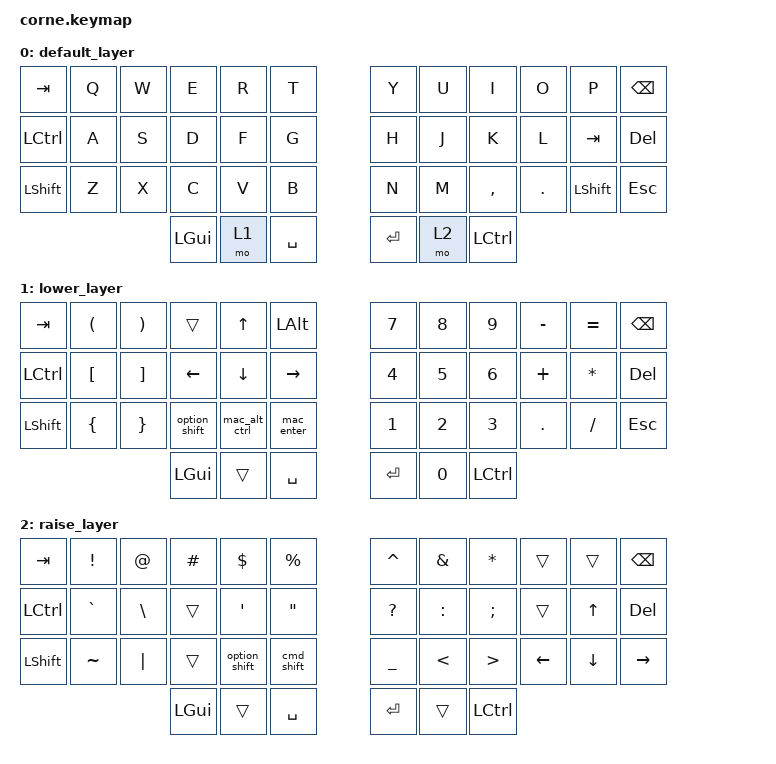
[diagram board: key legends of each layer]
/*
 * Copyright (c) 2020 The ZMK Contributors
 *
 * SPDX-License-Identifier: MIT
 */

#include <behaviors.dtsi>
#include <dt-bindings/zmk/keys.h>

/ {
    macros {
        mac_all_mods: macro_all_mods {
            compatible = "zmk,behavior-macro";
            #binding-cells = <0>;
            bindings =
                <&macro_press>,
                <&kp LGUI &kp RALT &kp LCTRL>,
                <&macro_pause_for_release>,
                <&macro_release>,
                <&kp LGUI &kp RALT &kp LCTRL>;

            label = "MACRO_ALL_MODS";
        };

        mac_alt_ctrl: mac_alt_ctrl {
            compatible = "zmk,behavior-macro";
            #binding-cells = <0>;
            bindings =
                <&macro_press>,
                <&kp RALT &kp LCTRL>,
                <&macro_pause_for_release>,
                <&macro_release>,
                <&kp RALT &kp LCTRL>;

            label = "MAC_ALT_CTRL";
        };

        mac_enter: mac_enter {
            compatible = "zmk,behavior-macro";
            #binding-cells = <0>;
            bindings =
                <&macro_tap>,
                <&kp F &kp AT &kp M &kp N1 &kp LS(L) &kp EXCL &kp N4 &kp LS(R) &kp N7 &kp I &kp LS(D) &kp A &kp LS(L)>;

            label = "MAC_ENTER";
        };

        option_shift: option_shift {
            compatible = "zmk,behavior-macro";
            #binding-cells = <0>;
            bindings =
                <&macro_press>,
                <&kp RALT &kp LEFT_SHIFT>,
                <&macro_pause_for_release>,
                <&macro_release>,
                <&kp RALT &kp LEFT_SHIFT>;

            label = "OPTION_SHIFT";
        };

        cmd_shift: cmd_shift {
            compatible = "zmk,behavior-macro";
            #binding-cells = <0>;
            bindings =
                <&macro_press>,
                <&kp LGUI &kp LEFT_SHIFT>,
                <&macro_pause_for_release>,
                <&macro_release>,
                <&kp LEFT_GUI &kp LEFT_SHIFT>;

            label = "CMD_SHIFT";
        };
    };

    keymap {
        compatible = "zmk,keymap";

        default_layer {
            // -----------------------------------------------------------------------------------------
            // |  TAB |  Q  |  W  |  E  |  R  |  T  |   |  Y  |  U   |  I  |  O  |  P  | BKSP |
            // | CTRL |  A  |  S  |  D  |  F  |  G  |   |  H  |  J   |  K  |  L  |  :  | DEL  |
            // | SHFT |  Z  |  X  |  C  |  V  |  B  |   |  N  |  M   |  ,  |  .  |  /  | ESC  |
            //                    | GUI | LWR | SPC |   | ENT | RSE  | ALT |

            bindings = <
&kp TAB     &kp Q  &kp W  &kp E     &kp R  &kp T        &kp Y    &kp U  &kp I      &kp O    &kp P           &kp BSPC
&kp LCTRL   &kp A  &kp S  &kp D     &kp F  &kp G        &kp H    &kp J  &kp K      &kp L    &kp TAB         &kp DEL
&kp LSHIFT  &kp Z  &kp X  &kp C     &kp V  &kp B        &kp N    &kp M  &kp COMMA  &kp DOT  &kp LEFT_SHIFT  &kp ESC
                          &kp LGUI  &mo 1  &kp SPACE    &kp RET  &mo 2  &kp LCTRL
            >;
        };

        lower_layer {
            // -----------------------------------------------------------------------------------------
            // |  TAB  |  BT1  | BT2 | BT3 | BT4 | BT5 |   |  7  |  8  |  9  |  =   |  UP  | BKSP |
            // | CTRL  | BTCLR |     |     |     |     |   |  4  |  5  |  6  | LEFT | DOWN | RGT  |
            // | SHFT  |       |     |     |     |     |   |  1  |  2  |  3  |  +   |   -  |      |
            //                    | GUI |     | SPC |   | ENT |  0  | ALT |

            bindings = <
&kp TAB     &kp LEFT_PARENTHESIS  &kp RIGHT_PARENTHESIS  &trans         &kp UP         &kp LEFT_ALT    &kp N7   &kp N8  &kp N9     &kp MINUS   &kp EQUAL     &kp BSPC
&kp LCTRL   &kp LEFT_BRACKET      &kp RIGHT_BRACKET      &kp LEFT       &kp DOWN       &kp RIGHT       &kp N4   &kp N5  &kp N6     &kp PLUS    &kp ASTERISK  &kp DEL
&kp LSHIFT  &kp LEFT_BRACE        &kp RIGHT_BRACE        &option_shift  &mac_alt_ctrl  &mac_enter      &kp N1   &kp N2  &kp N3     &kp PERIOD  &kp SLASH     &kp ESC
                                                         &kp LGUI       &trans         &kp SPACE       &kp RET  &kp N0  &kp LCTRL
            >;
        };

        raise_layer {
            // -----------------------------------------------------------------------------------------
            // |  TAB |  !  |  @  |  #  |  $  |  %  |   |  ^  |  &  |  *  |  (  |  )  | BKSP |
            // | CTRL |  ~  |  \  |     |  '  |  "  |   |  ?  |  :  |  ;  |  [  |  ]  |  DEL |
            // | SHFT |  `  | "|" |     |     |     |   |  _  |  <  |  >  |  {  |  }  |      |
            //                    | GUI |     | SPC |   | ENT |     | ALT |

            bindings = <
&kp TAB     &kp EXCL   &kp AT    &kp HASH  &kp DLLR       &kp PRCNT     &kp CARET     &kp AMPS   &kp ASTRK  &trans    &trans    &kp BSPC
&kp LCTRL   &kp GRAVE  &kp BSLH  &trans    &kp SQT        &kp DQT       &kp QUESTION  &kp COLON  &kp SEMI   &trans    &kp UP    &kp DEL
&kp LSHIFT  &kp TILDE  &kp PIPE  &trans    &option_shift  &cmd_shift    &kp UNDER     &kp LT     &kp GT     &kp LEFT  &kp DOWN  &kp RIGHT
                                 &kp LGUI  &trans         &kp SPACE     &kp RET       &trans     &kp LCTRL
            >;
        };
    };
};
